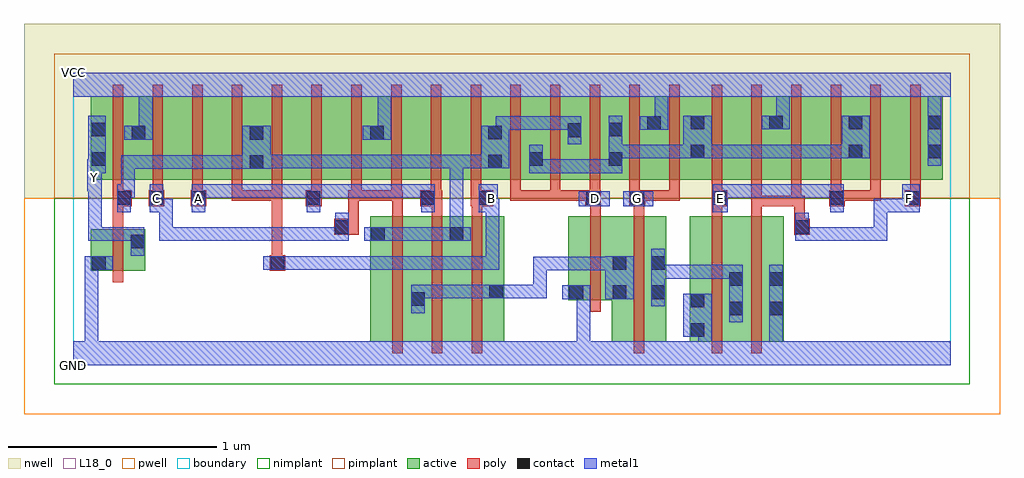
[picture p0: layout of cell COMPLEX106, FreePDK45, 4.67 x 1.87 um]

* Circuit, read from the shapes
.subckt COMPLEX106 A B C D E F G GND VCC Y
M1 Y n1 GND VSUBS nfet w=0.2u l=0.05u
M2 n2 C n1 VSUBS nfet w=0.6u l=0.05u
M3 n1 A n2 VSUBS nfet w=0.6u l=0.05u
M4 n2 B n1 VSUBS nfet w=0.6u l=0.05u
M5 n2 D GND VSUBS nfet w=0.4u l=0.05u
M6 n3 G n2 VSUBS nfet w=0.6u l=0.05u
M7 n3 E GND VSUBS nfet w=0.6u l=0.05u
M8 GND F n3 VSUBS nfet w=0.6u l=0.05u
M9 VCC n1 Y n4 pfet w=0.4u l=0.05u
M10 n5 C VCC n4 pfet w=0.4u l=0.05u
M11 n6 A n5 n4 pfet w=0.4u l=0.05u
M12 n1 B n6 n4 pfet w=0.4u l=0.05u
M13 n7 B n1 n4 pfet w=0.4u l=0.05u
M14 n8 A n7 n4 pfet w=0.4u l=0.05u
M15 VCC C n8 n4 pfet w=0.4u l=0.05u
M16 n9 C VCC n4 pfet w=0.4u l=0.05u
M17 n10 A n9 n4 pfet w=0.4u l=0.05u
M18 n1 B n10 n4 pfet w=0.4u l=0.05u
M19 n11 D n1 n4 pfet w=0.4u l=0.05u m=3
M20 VCC G n11 n4 pfet w=0.4u l=0.05u m=2
M21 n12 E n11 n4 pfet w=0.4u l=0.05u
M22 VCC F n12 n4 pfet w=0.4u l=0.05u
M23 n13 F VCC n4 pfet w=0.4u l=0.05u
M24 n11 E n13 n4 pfet w=0.4u l=0.05u
M25 n14 E n11 n4 pfet w=0.4u l=0.05u
M26 VCC F n14 n4 pfet w=0.4u l=0.05u
.ends

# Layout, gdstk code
import gdstk
lib = gdstk.Library(unit=1e-6, precision=1e-09)
def R(c, l, rs):  # rectangles x0, y0, x1, y1
    for r in rs: c.add(gdstk.rectangle(r[:2], r[2:], *l))
def A(c, l, x, y, w, h, nx, ny, dx, dy):  # array of equal rectangles
    R(c, l, [(x+i*dx, y+j*dy, x+i*dx+w, y+j*dy+h) for i in range(nx) for j in range(ny)])
active = (1, 0)
pwell = (2, 0)
nwell = (3, 0)
nimplant = (4, 0)
pimplant = (5, 0)
poly = (9, 0)
contact = (10, 0)
metal1 = (11, 0)
L18_0 = (18, 0)
boundary = (235, 0)

complex106 = lib.new_cell('COMPLEX106')
R(complex106, active, [(1.422,0.112,1.687,0.712), (1.612,0.112,1.872,0.712), (1.797,0.112,2.062,0.712), (2.577,0.112,2.837,0.712), (2.95,0.112,3.21,0.712), (2.95,0.112,3.025,0.712), (3.135,0.112,3.4,0.712), (1.422,0.145,1.497,0.712), (1.612,0.145,1.687,0.68), (1.797,0.145,1.872,0.692), (1.987,0.145,2.062,0.712), (2.762,0.145,2.837,0.712), (3.135,0.145,3.21,0.692), (3.325,0.145,3.4,0.712), (2.577,0.2,2.652,0.712), (2.37,0.312,2.652,0.712), (2.37,0.312,2.445,0.597), (0.085,0.452,0.16,0.652), (0.085,0.452,0.345,0.652), (0.27,0.452,0.345,0.652), (0.085,0.887,0.35,1.287), (0.085,0.887,0.16,1.2), (0.275,0.887,0.5,1.287), (0.5,0.887,0.69,1.287), (0.69,0.887,0.915,1.287), (0.84,0.887,1.07,1.287), (1.07,0.887,1.26,1.287), (1.26,0.887,1.492,1.287), (1.417,0.887,1.642,1.287), (1.642,0.887,1.832,1.287), (1.832,0.887,2.057,1.287), (1.982,0.887,2.252,1.287), (2.177,0.887,2.437,1.287), (2.362,0.887,2.632,1.287), (2.557,0.887,2.817,1.287), (2.742,0.887,3.025,1.287), (2.95,0.887,3.175,1.287), (3.175,0.887,3.4,1.287), (3.325,0.887,3.555,1.287), (3.555,0.887,3.782,1.287), (3.707,0.887,3.935,1.287), (3.935,0.887,4.16,1.287), (4.085,0.887,4.16,1.255), (0.275,0.907,0.35,1.255), (0.84,0.907,0.915,1.2), (1.417,0.907,1.492,1.255), (1.982,0.907,2.057,1.2), (2.177,0.907,2.252,1.07), (2.362,0.907,2.437,1.2), (2.557,0.907,2.632,1.2), (2.742,0.907,2.817,1.287), (2.95,0.907,3.025,1.2), (3.325,0.907,3.4,1.255), (3.707,0.907,3.782,1.2)])
R(complex106, pwell, [(-0.235,-0.235,4.435,0.8)])
R(complex106, nwell, [(-0.235,0.8,4.435,1.635)])
R(complex106, nimplant, [(-0.09,-0.09,4.29,0.8)])
R(complex106, pimplant, [(-0.09,0.8,4.29,1.49)])
A(complex106, poly, 1.527, 0.057, 0.05, 0.71, 3, 1, 0.19, 0)
A(complex106, poly, 0.19, 0.787, 0.05, 0.095, 7, 1, 0.19, 0)
A(complex106, poly, 1.522, 0.787, 0.05, 0.095, 8, 1, 0.19, 0)
A(complex106, poly, 3.625, 0.787, 0.05, 0.095, 3, 1, 0.19, 0)
A(complex106, poly, 0.19, 0.832, 0.05, 0.51, 7, 1, 0.19, 0)
A(complex106, poly, 1.522, 0.832, 0.05, 0.51, 8, 1, 0.19, 0)
A(complex106, poly, 3.055, 0.832, 0.05, 0.51, 6, 1, 0.19, 0)
R(complex106, poly, [(2.682,0.057,2.732,0.767), (3.055,0.057,3.105,0.767), (3.245,0.057,3.295,0.767), (2.475,0.257,2.525,0.767), (0.19,0.397,0.24,0.707), (0.94,0.452,1.015,0.527), (0.95,0.477,1,0.527), (0.95,0.477,1,0.527), (0.95,0.477,1,0.837), (1.25,0.625,1.367,0.7), (3.45,0.625,3.525,0.7), (1.317,0.65,1.367,0.837), (3.45,0.65,3.5,0.812), (0.19,0.657,0.24,0.812), (1.527,0.717,1.577,0.837), (1.717,0.717,1.767,0.812), (1.907,0.717,1.957,0.812), (2.475,0.717,2.525,0.812), (2.682,0.717,2.732,0.812), (3.055,0.717,3.105,0.812), (3.245,0.717,3.295,0.812), (0.19,0.762,0.28,0.837), (0.362,0.762,0.437,0.837), (0.562,0.762,0.637,0.837), (1.112,0.762,1.19,0.837), (1.66,0.762,1.767,0.837), (1.902,0.762,2.01,0.837), (2.45,0.762,2.525,0.837), (2.662,0.762,2.737,0.837), (3.055,0.762,3.13,0.837), (3.245,0.762,3.295,0.812), (3.245,0.762,3.295,0.812), (3.245,0.762,3.295,0.812), (3.245,0.762,3.295,0.882), (3.245,0.762,3.485,0.812), (3.435,0.762,3.485,0.882), (3.435,0.762,3.5,0.812), (3.45,0.762,3.5,0.812), (3.45,0.762,3.5,0.812), (3.617,0.762,3.692,0.837), (3.98,0.762,4.055,0.837), (0.76,0.787,0.81,0.837), (0.76,0.787,0.81,0.837), (0.76,0.787,0.81,0.837), (0.76,0.787,1,0.837), (0.95,0.787,1,0.837), (1.317,0.787,1.367,0.837), (1.317,0.787,1.367,0.837), (1.317,0.787,1.38,0.837), (1.33,0.787,1.572,0.837), (1.522,0.787,1.572,0.837), (1.522,0.787,1.572,0.837), (1.522,0.787,1.577,0.837), (2.092,0.787,2.142,0.837), (2.092,0.787,2.142,0.837), (2.092,0.787,2.142,0.837), (2.092,0.787,2.332,0.837), (2.282,0.787,2.332,0.837), (2.282,0.787,2.332,0.837), (2.282,0.787,2.332,0.837), (2.282,0.787,2.5,0.837), (2.687,0.787,2.737,0.837), (2.687,0.787,2.737,0.837), (2.687,0.787,2.902,0.837), (2.852,0.787,2.902,0.837), (3.055,0.787,3.105,0.882), (3.642,0.787,3.865,0.837), (3.642,0.787,3.692,0.837), (3.642,0.787,3.692,0.837), (3.815,0.787,3.865,0.837)])
R(complex106, contact, [(2.955,0.137,3.02,0.202), (3.14,0.24,3.205,0.305), (3.33,0.24,3.395,0.305), (2.955,0.277,3.02,0.342), (1.617,0.285,1.682,0.35), (2.375,0.317,2.44,0.382), (2.582,0.317,2.647,0.382), (2.767,0.317,2.832,0.382), (1.992,0.32,2.057,0.385), (3.14,0.38,3.205,0.445), (3.33,0.38,3.395,0.445), (0.09,0.457,0.155,0.522), (0.945,0.457,1.01,0.522), (2.582,0.457,2.647,0.522), (2.767,0.457,2.832,0.522), (0.275,0.56,0.34,0.625), (1.427,0.595,1.492,0.66), (1.802,0.595,1.867,0.66), (1.255,0.63,1.32,0.695), (3.455,0.63,3.52,0.695), (0.21,0.767,0.275,0.832), (0.367,0.767,0.432,0.832), (0.567,0.767,0.632,0.832), (1.117,0.767,1.182,0.832), (1.665,0.767,1.73,0.832), (1.94,0.767,2.005,0.832), (2.455,0.767,2.52,0.832), (2.667,0.767,2.732,0.832), (3.06,0.767,3.125,0.832), (3.622,0.767,3.687,0.832), (3.985,0.767,4.05,0.832), (0.845,0.94,0.91,1.005), (1.987,0.942,2.052,1.007), (0.09,0.955,0.155,1.02), (2.182,0.955,2.247,1.02), (2.562,0.955,2.627,1.02), (2.955,0.99,3.02,1.055), (3.712,0.99,3.777,1.055), (4.09,0.99,4.155,1.055), (0.28,1.08,0.345,1.145), (0.845,1.08,0.91,1.145), (1.422,1.08,1.487,1.145), (1.987,1.082,2.052,1.147), (2.367,1.092,2.432,1.157), (0.09,1.095,0.155,1.16), (2.562,1.095,2.627,1.16), (2.747,1.127,2.812,1.192), (2.955,1.13,3.02,1.195), (3.33,1.13,3.395,1.195), (3.712,1.13,3.777,1.195), (4.09,1.13,4.155,1.195)])
A(complex106, metal1, 1.017, 0.457, 0.065, 0.065, 3, 1, 0.1, 0)
A(complex106, metal1, 2.99, 0.99, 0.202, 0.065, 3, 1, 0.275, 0)
R(complex106, metal1, [(0,0,4.2,0.115), (0.055,0.05,0.12,0.522), (2.41,0.05,2.475,0.382), (2.99,0.05,3.055,0.202), (3.33,0.05,3.395,0.115), (3.33,0.05,3.395,0.115), (3.33,0.05,3.395,0.27), (2.92,0.137,3.055,0.342), (2.99,0.137,3.055,0.202), (2.99,0.137,3.055,0.202), (3.14,0.205,3.205,0.48), (3.33,0.205,3.395,0.48), (1.617,0.25,1.682,0.385), (2.767,0.282,2.832,0.557), (2.34,0.317,2.475,0.382), (2.41,0.317,2.475,0.382), (2.41,0.317,2.475,0.382), (2.41,0.317,2.475,0.382), (2.41,0.317,2.475,0.382), (2.547,0.317,2.682,0.522), (1.617,0.32,1.73,0.385), (1.665,0.32,1.867,0.385), (1.665,0.32,1.73,0.385), (1.802,0.32,1.867,0.385), (1.802,0.32,1.867,0.385), (1.802,0.32,1.867,0.385), (1.802,0.32,2.022,0.385), (1.957,0.32,2.092,0.385), (2.027,0.32,2.17,0.385), (2.105,0.32,2.17,0.385), (2.105,0.32,2.267,0.385), (2.202,0.32,2.267,0.385), (2.202,0.32,2.267,0.385), (2.202,0.32,2.267,0.385), (2.202,0.32,2.267,0.385), (2.202,0.32,2.267,0.385), (2.202,0.32,2.267,0.52), (2.767,0.415,2.987,0.48), (2.922,0.415,2.987,0.48), (2.922,0.415,2.987,0.48), (2.922,0.415,2.987,0.48), (2.922,0.415,3.125,0.48), (3.06,0.415,3.125,0.48), (3.06,0.415,3.205,0.48), (2.202,0.455,2.267,0.52), (2.202,0.455,2.307,0.52), (2.242,0.455,2.307,0.52), (2.242,0.455,2.405,0.52), (2.34,0.455,2.405,0.52), (2.34,0.455,2.445,0.52), (2.38,0.455,2.445,0.52), (2.38,0.455,2.612,0.52), (0.055,0.457,0.12,0.522), (0.055,0.457,0.12,0.522), (0.055,0.457,0.12,0.522), (0.055,0.457,0.12,0.522), (0.055,0.457,0.12,0.522), (0.055,0.457,0.12,0.522), (0.055,0.457,0.12,0.522), (0.055,0.457,0.12,0.522), (0.055,0.457,0.19,0.522), (0.91,0.457,1.045,0.522), (0.98,0.457,1.082,0.522), (1.017,0.457,1.082,0.522), (1.017,0.457,1.082,0.522), (1.017,0.457,1.182,0.522), (1.117,0.457,1.282,0.522), (1.217,0.457,1.42,0.522), (1.355,0.457,1.42,0.522), (1.355,0.457,1.545,0.522), (1.48,0.457,1.545,0.522), (1.48,0.457,1.557,0.522), (1.492,0.457,1.557,0.522), (1.492,0.457,1.695,0.522), (1.63,0.457,1.695,0.522), (1.63,0.457,1.695,0.522), (1.63,0.457,1.695,0.522), (1.63,0.457,1.867,0.522), (1.802,0.457,1.867,0.522), (1.802,0.457,1.867,0.522), (1.802,0.457,1.867,0.522), (1.802,0.457,1.867,0.522), (1.802,0.457,1.867,0.522), (1.802,0.457,2.04,0.522), (1.975,0.457,2.04,0.522), (1.975,0.457,2.04,0.522), (1.975,0.457,2.04,0.522), (1.975,0.457,2.04,0.797), (0.275,0.525,0.34,0.66), (0.072,0.595,0.137,0.66), (0.072,0.595,0.137,0.66), (0.072,0.595,0.137,0.66), (0.072,0.595,0.34,0.66), (0.072,0.595,0.137,0.897), (0.412,0.595,0.477,0.797), (0.412,0.595,0.477,0.66), (0.412,0.595,0.632,0.66), (0.567,0.595,0.632,0.66), (0.567,0.595,0.632,0.66), (0.567,0.595,0.632,0.66), (0.567,0.595,0.77,0.66), (0.705,0.595,0.907,0.66), (0.705,0.595,0.77,0.66), (0.842,0.595,0.907,0.66), (0.842,0.595,0.907,0.66), (0.842,0.595,0.907,0.66), (0.842,0.595,1.145,0.66), (1.08,0.595,1.145,0.66), (1.08,0.595,1.182,0.66), (1.117,0.595,1.182,0.66), (1.117,0.595,1.282,0.66), (1.217,0.595,1.282,0.66), (1.217,0.595,1.282,0.66), (1.217,0.595,1.282,0.66), (1.217,0.595,1.32,0.66), (1.255,0.595,1.32,0.73), (1.392,0.595,1.527,0.66), (1.462,0.595,1.557,0.66), (1.492,0.595,1.557,0.66), (1.492,0.595,1.695,0.66), (1.63,0.595,1.695,0.66), (1.63,0.595,1.73,0.66), (1.665,0.595,1.73,0.66), (1.665,0.595,1.832,0.66), (1.767,0.595,1.902,0.66), (1.802,0.595,1.867,1.007), (3.455,0.595,3.52,0.73), (3.455,0.595,3.605,0.66), (3.54,0.595,3.605,0.66), (3.54,0.595,3.605,0.66), (3.54,0.595,3.605,0.66), (3.54,0.595,3.757,0.66), (3.692,0.595,3.757,0.66), (3.692,0.595,3.757,0.66), (3.692,0.595,3.757,0.66), (3.692,0.595,3.895,0.66), (3.83,0.595,3.895,0.797), (3.83,0.595,3.895,0.66), (3.83,0.595,3.895,0.66), (3.83,0.595,3.895,0.66), (0.21,0.732,0.275,0.867), (0.367,0.732,0.432,0.867), (0.367,0.732,0.477,0.797), (0.412,0.732,0.477,0.797), (0.567,0.732,0.632,0.867), (1.117,0.732,1.182,0.867), (1.665,0.732,1.73,0.867), (1.94,0.732,2.032,0.867), (1.967,0.732,2.04,0.797), (1.975,0.732,2.04,0.797), (3.06,0.732,3.132,0.867), (3.622,0.732,3.687,0.867), (3.83,0.732,4.032,0.797), (3.83,0.732,3.895,0.797), (3.967,0.732,4.05,0.867), (2.632,0.76,2.775,0.832), (2.42,0.762,2.567,0.832), (0.21,0.802,0.295,0.867), (0.23,0.802,0.295,0.867), (0.23,0.802,0.295,1.005), (0.567,0.802,0.632,0.867), (0.567,0.802,0.632,0.867), (0.567,0.802,0.77,0.867), (0.705,0.802,0.907,0.867), (0.705,0.802,0.77,0.867), (0.842,0.802,0.907,0.867), (0.842,0.802,0.907,0.867), (0.842,0.802,0.907,0.867), (0.842,0.802,1.145,0.867), (1.08,0.802,1.145,0.867), (1.08,0.802,1.182,0.867), (1.117,0.802,1.282,0.867), (1.217,0.802,1.282,0.867), (1.217,0.802,1.42,0.867), (1.355,0.802,1.557,0.867), (1.355,0.802,1.42,0.867), (1.355,0.802,1.42,0.867), (1.355,0.802,1.42,0.867), (1.492,0.802,1.557,0.867), (1.492,0.802,1.682,0.867), (1.617,0.802,1.682,0.867), (1.617,0.802,1.73,0.867), (3.067,0.802,3.192,0.867), (3.127,0.802,3.192,0.867), (3.127,0.802,3.33,0.867), (3.265,0.802,3.467,0.867), (3.265,0.802,3.33,0.867), (3.402,0.802,3.467,0.867), (3.402,0.802,3.467,0.867), (3.402,0.802,3.467,0.867), (3.402,0.802,3.605,0.867), (3.54,0.802,3.605,0.867), (3.54,0.802,3.687,0.867), (0.067,0.832,0.137,0.985), (0.072,0.92,0.137,0.985), (0.072,0.92,0.155,1.195), (2.182,0.92,2.247,1.055), (2.182,0.92,2.307,0.985), (2.242,0.92,2.307,0.985), (2.242,0.92,2.445,0.985), (2.38,0.92,2.445,0.985), (2.38,0.92,2.445,0.985), (2.38,0.92,2.445,0.985), (2.38,0.92,2.627,0.985), (2.562,0.92,2.627,1.195), (0.23,0.94,0.295,1.005), (0.23,0.94,0.412,1.005), (0.347,0.94,0.412,1.005), (0.347,0.94,0.432,1.005), (0.367,0.94,0.432,1.005), (0.367,0.94,0.632,1.005), (0.567,0.94,0.632,1.005), (0.567,0.94,0.632,1.005), (0.567,0.94,0.632,1.005), (0.567,0.94,0.77,1.005), (0.705,0.94,0.77,1.005), (0.705,0.94,0.875,1.005), (0.81,0.94,0.945,1.145), (0.88,0.942,0.945,1.007), (0.88,0.942,0.945,1.007), (0.88,0.942,1.145,1.007), (1.08,0.942,1.145,1.007), (1.08,0.942,1.182,1.007), (1.117,0.942,1.182,1.007), (1.117,0.942,1.282,1.007), (1.217,0.942,1.282,1.007), (1.217,0.942,1.42,1.007), (1.355,0.942,1.557,1.007), (1.355,0.942,1.42,1.007), (1.355,0.942,1.42,1.007), (1.355,0.942,1.42,1.007), (1.492,0.942,1.557,1.007), (1.492,0.942,1.695,1.007), (1.63,0.942,1.695,1.007), (1.63,0.942,1.695,1.007), (1.63,0.942,1.695,1.007), (1.63,0.942,1.867,1.007), (1.802,0.942,1.867,1.007), (1.802,0.942,1.867,1.007), (1.802,0.942,1.867,1.007), (1.802,0.942,2.017,1.007), (1.952,0.942,2.017,1.007), (1.952,0.942,2.017,1.007), (1.952,0.942,2.087,1.147), (4.09,0.955,4.155,1.23), (2.562,0.99,2.847,1.055), (2.782,0.99,2.847,1.055), (2.782,0.99,2.847,1.055), (2.782,0.99,2.847,1.055), (2.782,0.99,2.985,1.055), (2.92,0.99,2.985,1.055), (2.92,0.99,2.985,1.055), (2.92,0.99,3.055,1.195), (3.127,0.99,3.192,1.055), (3.127,0.99,3.192,1.055), (3.127,0.99,3.192,1.055), (3.127,0.99,3.33,1.055), (3.265,0.99,3.33,1.055), (3.402,0.99,3.467,1.055), (3.402,0.99,3.55,1.055), (3.485,0.99,3.55,1.055), (3.485,0.99,3.605,1.055), (3.54,0.99,3.605,1.055), (3.677,0.99,3.742,1.055), (3.677,0.99,3.742,1.055), (3.677,0.99,3.812,1.195), (2.367,1.057,2.432,1.192), (0.245,1.08,0.38,1.145), (0.315,1.08,0.38,1.35), (1.387,1.08,1.522,1.145), (1.457,1.08,1.522,1.35), (2.022,1.082,2.087,1.192), (2.022,1.127,2.087,1.192), (2.022,1.127,2.17,1.192), (2.105,1.127,2.17,1.192), (2.105,1.127,2.267,1.192), (2.202,1.127,2.267,1.192), (2.202,1.127,2.307,1.192), (2.242,1.127,2.307,1.192), (2.242,1.127,2.432,1.192), (2.712,1.127,2.847,1.192), (2.782,1.127,2.847,1.35), (3.295,1.13,3.43,1.195), (3.365,1.13,3.43,1.35), (4.09,1.165,4.155,1.35), (0,1.285,4.2,1.4)])
A(complex106, L18_0, 1.017, 0.457, 0.065, 0.065, 3, 1, 0.1, 0)
R(complex106, L18_0, [(0,0,4.2,0.115), (0.055,0.05,0.12,0.522), (2.41,0.05,2.475,0.382), (2.99,0.05,3.055,0.202), (3.33,0.05,3.395,0.115), (3.33,0.05,3.395,0.115), (3.33,0.05,3.395,0.27), (2.92,0.137,3.055,0.342), (2.99,0.137,3.055,0.202), (2.99,0.137,3.055,0.202), (3.33,0.205,3.395,0.48), (2.34,0.317,2.475,0.382), (2.41,0.317,2.475,0.382), (2.41,0.317,2.475,0.382), (2.41,0.317,2.475,0.382), (2.41,0.317,2.475,0.382), (0.055,0.457,0.12,0.522), (0.055,0.457,0.12,0.522), (0.055,0.457,0.12,0.522), (0.055,0.457,0.12,0.522), (0.055,0.457,0.12,0.522), (0.055,0.457,0.12,0.522), (0.055,0.457,0.12,0.522), (0.055,0.457,0.12,0.522), (0.055,0.457,0.19,0.522), (0.91,0.457,1.045,0.522), (0.98,0.457,1.082,0.522), (1.017,0.457,1.082,0.522), (1.017,0.457,1.082,0.522), (1.017,0.457,1.182,0.522), (1.117,0.457,1.282,0.522), (1.217,0.457,1.42,0.522), (1.355,0.457,1.42,0.522), (1.355,0.457,1.545,0.522), (1.48,0.457,1.545,0.522), (1.48,0.457,1.557,0.522), (1.492,0.457,1.557,0.522), (1.492,0.457,1.695,0.522), (1.63,0.457,1.695,0.522), (1.63,0.457,1.695,0.522), (1.63,0.457,1.695,0.522), (1.63,0.457,1.867,0.522), (1.802,0.457,1.867,0.522), (1.802,0.457,1.867,0.522), (1.802,0.457,1.867,0.522), (1.802,0.457,1.867,0.522), (1.802,0.457,1.867,0.522), (1.802,0.457,2.04,0.522), (1.975,0.457,2.04,0.522), (1.975,0.457,2.04,0.522), (1.975,0.457,2.04,0.522), (1.975,0.457,2.04,0.797), (0.275,0.525,0.34,0.66), (0.072,0.595,0.137,0.66), (0.072,0.595,0.137,0.66), (0.072,0.595,0.137,0.66), (0.072,0.595,0.137,0.897), (0.072,0.595,0.34,0.66), (0.412,0.595,0.477,0.66), (0.412,0.595,0.477,0.797), (0.412,0.595,0.632,0.66), (0.567,0.595,0.632,0.66), (0.567,0.595,0.632,0.66), (0.567,0.595,0.632,0.66), (0.567,0.595,0.77,0.66), (0.705,0.595,0.77,0.66), (0.705,0.595,0.907,0.66), (0.842,0.595,0.907,0.66), (0.842,0.595,0.907,0.66), (0.842,0.595,0.907,0.66), (0.842,0.595,1.145,0.66), (1.08,0.595,1.145,0.66), (1.08,0.595,1.182,0.66), (1.117,0.595,1.182,0.66), (1.117,0.595,1.282,0.66), (1.217,0.595,1.282,0.66), (1.217,0.595,1.282,0.66), (1.217,0.595,1.282,0.66), (1.217,0.595,1.32,0.66), (1.255,0.595,1.32,0.73), (3.455,0.595,3.52,0.73), (3.455,0.595,3.605,0.66), (3.54,0.595,3.605,0.66), (3.54,0.595,3.605,0.66), (3.54,0.595,3.605,0.66), (3.54,0.595,3.757,0.66), (3.692,0.595,3.757,0.66), (3.692,0.595,3.757,0.66), (3.692,0.595,3.757,0.66), (3.692,0.595,3.895,0.66), (3.83,0.595,3.895,0.66), (3.83,0.595,3.895,0.66), (3.83,0.595,3.895,0.66), (3.83,0.595,3.895,0.797), (0.367,0.732,0.432,0.867), (0.367,0.732,0.477,0.797), (0.412,0.732,0.477,0.797), (0.567,0.732,0.632,0.867), (1.117,0.732,1.182,0.867), (1.665,0.732,1.73,0.867), (1.94,0.732,2.032,0.867), (1.967,0.732,2.04,0.797), (1.975,0.732,2.04,0.797), (3.06,0.732,3.132,0.867), (3.622,0.732,3.687,0.867), (3.83,0.732,3.895,0.797), (3.83,0.732,4.032,0.797), (3.967,0.732,4.05,0.867), (2.632,0.76,2.775,0.832), (2.42,0.762,2.567,0.832), (0.367,0.767,0.432,0.832), (0.567,0.767,0.632,0.832), (1.967,0.767,2.032,0.832), (2.467,0.767,2.532,0.832), (2.667,0.767,2.732,0.832), (3.067,0.767,3.132,0.832), (3.967,0.767,4.032,0.832), (0.567,0.802,0.632,0.867), (0.567,0.802,0.632,0.867), (0.567,0.802,0.77,0.867), (0.705,0.802,0.77,0.867), (0.705,0.802,0.907,0.867), (0.842,0.802,0.907,0.867), (0.842,0.802,0.907,0.867), (0.842,0.802,0.907,0.867), (0.842,0.802,1.145,0.867), (1.08,0.802,1.145,0.867), (1.08,0.802,1.182,0.867), (1.117,0.802,1.282,0.867), (1.217,0.802,1.282,0.867), (1.217,0.802,1.42,0.867), (1.355,0.802,1.42,0.867), (1.355,0.802,1.42,0.867), (1.355,0.802,1.42,0.867), (1.355,0.802,1.557,0.867), (1.492,0.802,1.557,0.867), (1.492,0.802,1.682,0.867), (1.617,0.802,1.682,0.867), (1.617,0.802,1.73,0.867), (3.067,0.802,3.192,0.867), (3.127,0.802,3.192,0.867), (3.127,0.802,3.33,0.867), (3.265,0.802,3.33,0.867), (3.265,0.802,3.467,0.867), (3.402,0.802,3.467,0.867), (3.402,0.802,3.467,0.867), (3.402,0.802,3.467,0.867), (3.402,0.802,3.605,0.867), (3.54,0.802,3.605,0.867), (3.54,0.802,3.687,0.867), (0.067,0.832,0.137,0.985), (0.067,0.867,0.132,0.932), (0.072,0.92,0.137,0.985), (0.072,0.92,0.155,1.195), (4.09,0.955,4.155,1.23), (0.245,1.08,0.38,1.145), (0.315,1.08,0.38,1.35), (1.387,1.08,1.522,1.145), (1.457,1.08,1.522,1.35), (2.712,1.127,2.847,1.192), (2.782,1.127,2.847,1.35), (3.295,1.13,3.43,1.195), (3.365,1.13,3.43,1.35), (4.09,1.165,4.155,1.35), (0,1.285,4.2,1.4)])
R(complex106, boundary, [(0,0,4.2,1.4)])
complex106.add(gdstk.Label('A', (0.6,0.8), layer=11, texttype=0))
complex106.add(gdstk.Label('B', (2,0.8), layer=11, texttype=0))
complex106.add(gdstk.Label('C', (0.4,0.8), layer=11, texttype=0))
complex106.add(gdstk.Label('D', (2.5,0.8), layer=11, texttype=0))
complex106.add(gdstk.Label('E', (3.1,0.8), layer=11, texttype=0))
complex106.add(gdstk.Label('F', (4,0.8), layer=11, texttype=0))
complex106.add(gdstk.Label('G', (2.7,0.8), layer=11, texttype=0))
complex106.add(gdstk.Label('Y', (0.1,0.9), layer=11, texttype=0))
complex106.add(gdstk.Label('VCC', (0,1.4), layer=11, texttype=0))
complex106.add(gdstk.Label('GND', (0,0), layer=11, texttype=0))

lib.write_gds('COMPLEX106.gds')
